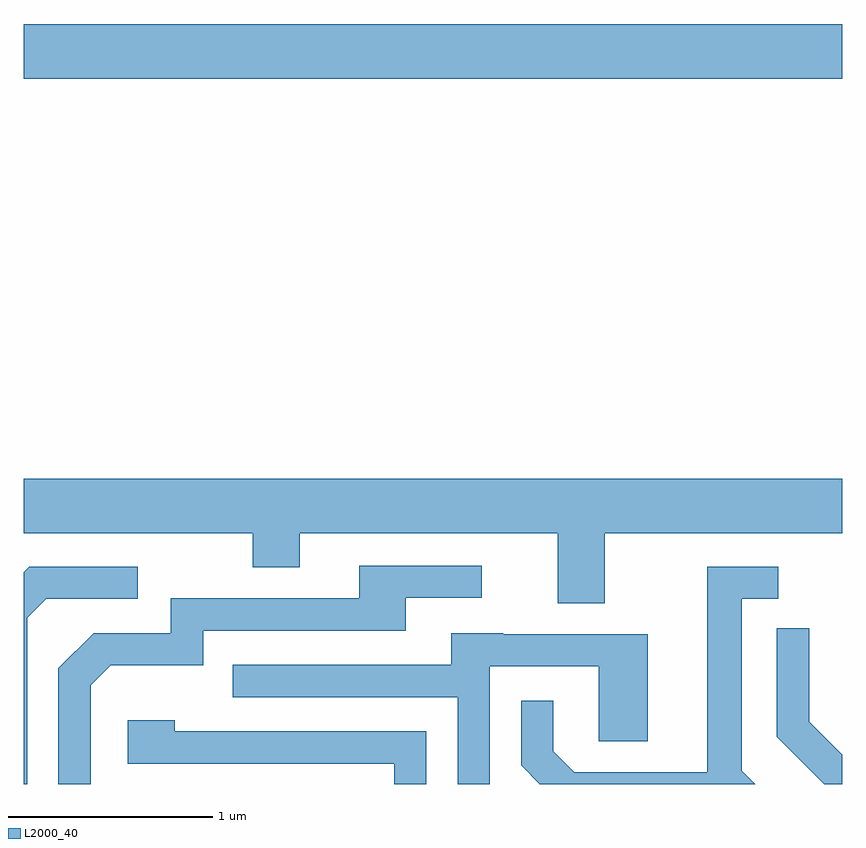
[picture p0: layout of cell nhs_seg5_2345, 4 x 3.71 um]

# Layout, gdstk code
import gdstk
lib = gdstk.Library(unit=1e-6, precision=1e-09)
def R(c, l, rs):  # rectangles x0, y0, x1, y1
    for r in rs: c.add(gdstk.rectangle(r[:2], r[2:], *l))
def P(c, l, *ps):  # polygons
    for p in ps: c.add(gdstk.Polygon(p, *l))
L2000_40 = (2000, 40)

nhs_seg5_2345 = lib.new_cell('nhs_seg5_2345')
R(nhs_seg5_2345, L2000_40, [(255.611,1403.516,259.611,1403.784)])
P(nhs_seg5_2345, L2000_40, [(258.449,1401.296),(259.611,1401.296),(259.611,1401.564),(255.611,1401.564),(255.611,1401.296),(256.731,1401.296),(256.731,1401.131),(256.959,1401.131),(256.959,1401.296),(258.221,1401.296),(258.221,1400.956),(258.449,1400.956)],
  [(255.939,1400.554),(256.037,1400.651),(256.489,1400.651),(256.489,1400.821),(257.479,1400.821),(257.479,1400.981),(257.848,1400.981),(257.848,1401.139),(257.251,1401.139),(257.251,1400.979),(256.331,1400.979),(256.331,1400.809),(255.954,1400.809),(255.781,1400.637),(255.781,1400.072),(255.939,1400.072)],
  [(255.629,1400.884),(255.722,1400.976),(256.168,1400.976),(256.168,1401.134),(255.639,1401.134),(255.611,1401.106),(255.611,1400.072),(255.629,1400.072)],
  [(259.119,1400.137),(259.119,1400.976),(259.298,1400.976),(259.298,1401.134),(258.951,1401.134),(258.951,1400.129),(258.302,1400.129),(258.199,1400.232),(258.199,1400.478),(258.041,1400.478),(258.041,1400.164),(258.133,1400.072),(259.184,1400.072)],
  [(259.611,1400.215),(259.449,1400.377),(259.449,1400.833),(259.291,1400.833),(259.291,1400.304),(259.523,1400.072),(259.611,1400.072)],
  [(257.889,1400.646),(258.421,1400.646),(258.421,1400.281),(258.659,1400.281),(258.659,1400.804),(257.955,1400.804),(257.955,1400.809),(257.701,1400.809),(257.701,1400.654),(256.633,1400.654),(256.633,1400.496),(257.731,1400.496),(257.731,1400.072),(257.889,1400.072)],
  [(257.579,1400.329),(256.349,1400.329),(256.349,1400.384),(256.121,1400.384),(256.121,1400.171),(257.421,1400.171),(257.421,1400.072),(257.579,1400.072)])

lib.write_gds('nhs_seg5_2345.gds')
